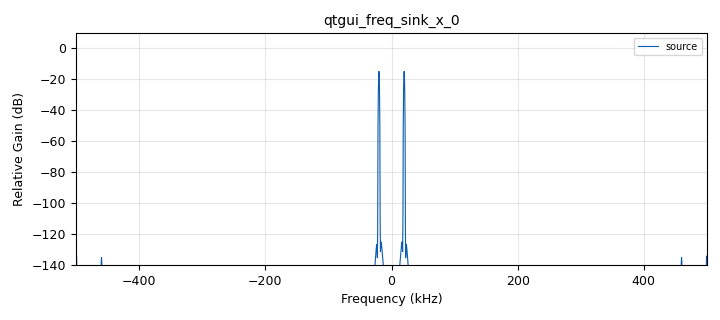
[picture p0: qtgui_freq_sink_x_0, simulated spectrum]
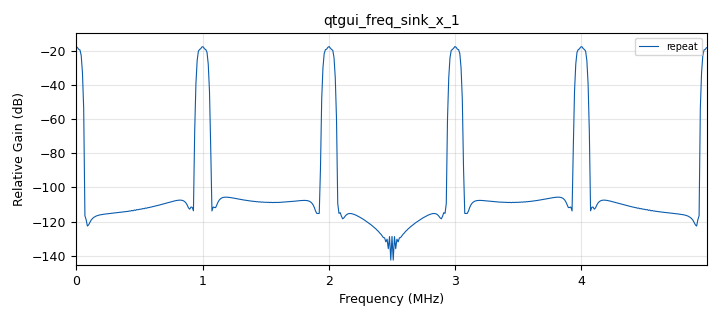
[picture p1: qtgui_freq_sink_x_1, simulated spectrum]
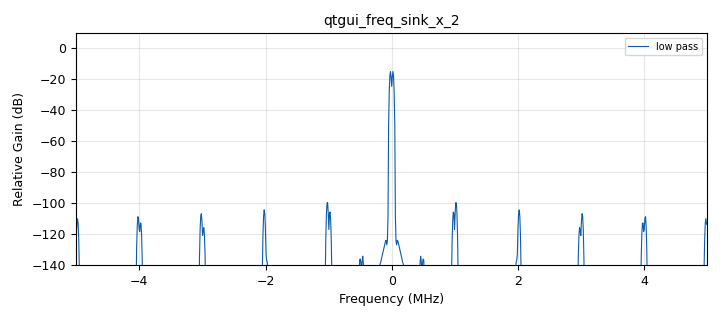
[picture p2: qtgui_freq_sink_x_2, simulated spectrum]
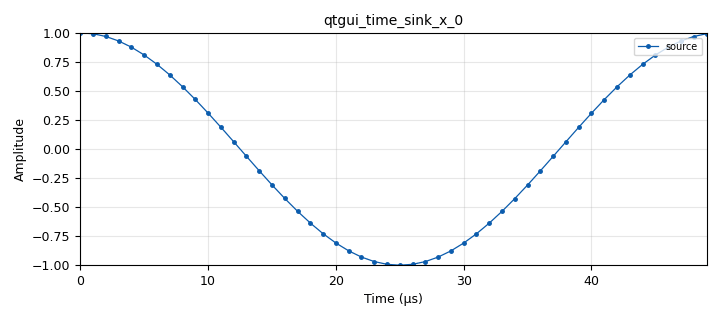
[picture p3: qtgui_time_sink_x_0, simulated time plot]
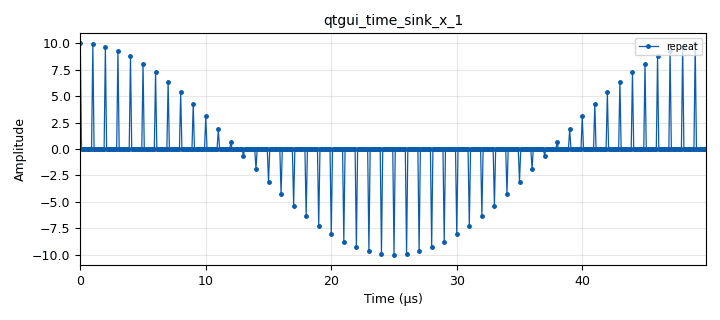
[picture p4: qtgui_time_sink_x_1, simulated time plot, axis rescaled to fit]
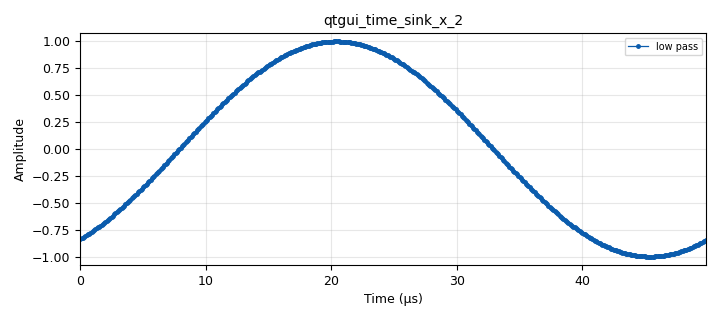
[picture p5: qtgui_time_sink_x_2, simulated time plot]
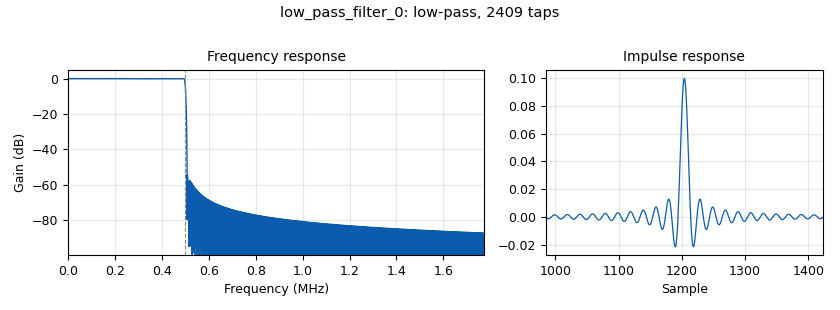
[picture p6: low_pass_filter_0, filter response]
options:
  parameters:
    generate_options: qt_gui
    id: sam
    output_language: python
    title: Not titled yet
  states: {}

blocks:
- name: freq_kHz
  id: variable_qtgui_range
  parameters:
    gui_hint: 0,0,1,2
    label: cosine frequency
    start: '0'
    step: '1'
    stop: 1.5e3
    value: '20'
    widget: dial
  states: {}
- name: samp_rate
  id: variable
  parameters:
    value: '1000000'
  states: {}
- name: analog_sig_source_x_0
  id: analog_sig_source_x
  parameters:
    amp: '1'
    freq: freq_kHz*1000
    offset: '0'
    phase: '0'
    samp_rate: samp_rate
    type: float
    waveform: analog.GR_COS_WAVE
  states: {}
- name: blocks_throttle2_0
  id: blocks_throttle2
  parameters:
    samples_per_second: samp_rate
    type: float
  states: {}
- name: interp_fir_filter_xxx_0
  id: interp_fir_filter_xxx
  parameters:
    interp: '10'
    taps: '[10,0,0,0,0,0,0,0,0,0]'
    type: fff
  states: {}
- name: low_pass_filter_0
  id: low_pass_filter
  parameters:
    cutoff_freq: 500e3
    decim: '1'
    gain: '1'
    samp_rate: samp_rate*10
    type: fir_filter_fff
    width: 10e3
    win: window.WIN_HAMMING
  states: {}
- name: qtgui_freq_sink_x_0
  id: qtgui_freq_sink_x
  parameters:
    bw: samp_rate
    fc: '0'
    fftsize: '2048'
    gui_hint: 1,1,3,1
    label1: '"source"'
    type: float
  states: {}
- name: qtgui_freq_sink_x_1
  id: qtgui_freq_sink_x
  parameters:
    autoscale: 'True'
    bw: samp_rate*10
    fc: '0'
    fftsize: '1024'
    freqhalf: 'False'
    grid: 'True'
    gui_hint: 4,1,3,1
    label1: '"repeat"'
    type: float
    wintype: window.WIN_FLATTOP
  states: {}
- name: qtgui_freq_sink_x_2
  id: qtgui_freq_sink_x
  parameters:
    bw: samp_rate*10
    fc: '0'
    fftsize: '1024'
    gui_hint: 7,1,3,1
    label1: '"low pass"'
    type: float
  states: {}
- name: qtgui_time_sink_x_0
  id: qtgui_time_sink_x
  parameters:
    gui_hint: 1,0,3,1
    label1: source
    marker1: '0'
    size: '50'
    srate: samp_rate
    type: float
  states: {}
- name: qtgui_time_sink_x_1
  id: qtgui_time_sink_x
  parameters:
    gui_hint: 1,4,2,3
    label1: repeat
    marker1: '0'
    size: '500'
    srate: samp_rate*10
    type: float
  states: {}
- name: qtgui_time_sink_x_2
  id: qtgui_time_sink_x
  parameters:
    gui_hint: 7,4,2,3
    label1: low pass
    marker1: '0'
    size: '500'
    srate: samp_rate*10
    type: float
  states: {}

connections:
- [analog_sig_source_x_0, '0', blocks_throttle2_0, '0']
- [blocks_throttle2_0, '0', interp_fir_filter_xxx_0, '0']
- [blocks_throttle2_0, '0', qtgui_freq_sink_x_0, '0']
- [blocks_throttle2_0, '0', qtgui_time_sink_x_0, '0']
- [interp_fir_filter_xxx_0, '0', low_pass_filter_0, '0']
- [interp_fir_filter_xxx_0, '0', qtgui_freq_sink_x_1, '0']
- [interp_fir_filter_xxx_0, '0', qtgui_time_sink_x_1, '0']
- [low_pass_filter_0, '0', qtgui_freq_sink_x_2, '0']
- [low_pass_filter_0, '0', qtgui_time_sink_x_2, '0']

metadata:
  file_format: 1
  grc_version: 3.10.9.2
